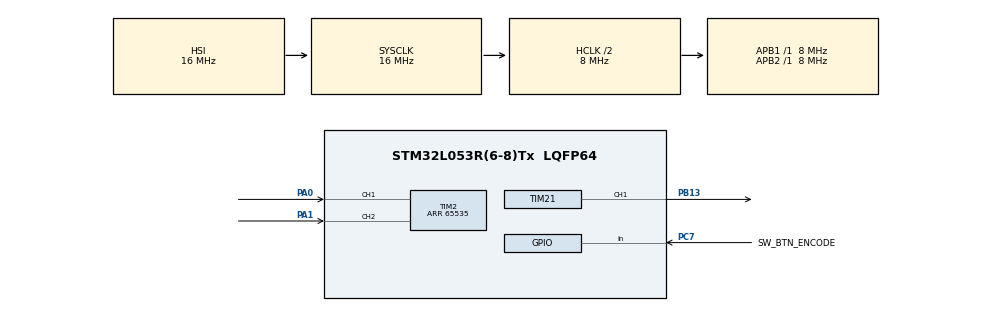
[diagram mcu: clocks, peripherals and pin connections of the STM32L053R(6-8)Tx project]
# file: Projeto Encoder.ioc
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Mcu.Family=STM32L0
Mcu.Name=STM32L053R(6-8)Tx
Mcu.Package=LQFP64
NVIC.TIM2_IRQn=true\:0\:0\:false\:false\:true\:true\:true\:true
PA0.Signal=S_TIM2_CH1
PA1.Signal=S_TIM2_CH2
PB13.Signal=S_TIM21_CH1
PC7.GPIO_Label=SW_BTN_ENCODE
PC7.GPIO_PuPd=GPIO_PULLUP
PC7.Signal=GPIO_Input
ProjectManager.HeapSize=0x200
ProjectManager.StackSize=0x400
ProjectManager.TargetToolchain=STM32CubeIDE
RCC.AHBCLKDivider=RCC_SYSCLK_DIV2
RCC.AHBFreq_Value=8000000
RCC.APB1Freq_Value=8000000
RCC.APB1TimFreq_Value=8000000
RCC.APB2Freq_Value=8000000
RCC.APB2TimFreq_Value=8000000
RCC.HCLKFreq_Value=8000000
RCC.HSE_VALUE=8000000
RCC.HSI16_VALUE=16000000
RCC.HSI48_VALUE=48000000
RCC.HSI_VALUE=16000000
RCC.LSE_VALUE=32768
RCC.MSI_VALUE=2097000
RCC.SYSCLKFreq_VALUE=16000000
RCC.SYSCLKSource=RCC_SYSCLKSOURCE_HSI
RCC.VCOOutputFreq_Value=48000000
SH.S_TIM21_CH1.0=TIM21_CH1,PWM Generation1 CH1
SH.S_TIM2_CH1.0=TIM2_CH1,Encoder_Interface
SH.S_TIM2_CH2.0=TIM2_CH2,Encoder_Interface
TIM2.AutoReloadPreload=TIM_AUTORELOAD_PRELOAD_ENABLE
TIM2.EncoderMode=TIM_ENCODERMODE_TI12
TIM2.IC1Filter=10
TIM2.IC1Polarity=TIM_ICPOLARITY_FALLING
TIM2.IC2Filter=0
TIM2.IC2Polarity=TIM_ICPOLARITY_FALLING
TIM2.Period=65535
TIM21.Channel-PWM\ Generation1\ CH1=TIM_CHANNEL_1
TIM21.Period=20000-1
TIM21.Prescaler=8-1
TIM21.Pulse-PWM\ Generation1\ CH1=500-1
VP_TIM21_VS_ClockSourceINT.Mode=Internal
board=NUCLEO-L053R8

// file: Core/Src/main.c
/* USER CODE BEGIN Header */
/**
  ******************************************************************************
  * @file           : main.c
  * @brief          : Main program body
  ******************************************************************************
  * @attention
  *
  * Copyright (c) 2025 STMicroelectronics.
  * All rights reserved.
  *
  * This software is licensed under terms that can be found in the LICENSE file
  * in the root directory of this software component.
  * If no LICENSE file comes with this software, it is provided AS-IS.
  *
  ******************************************************************************
  */
/* USER CODE END Header */
#include "main.h"

TIM_HandleTypeDef htim2;
TIM_HandleTypeDef htim21;

/* USER CODE BEGIN PV */
uint32_t rawCounter     = 0,
		 counterFiltred = 0,
		 last_counter   = 0,
		 duty_servo     = 0,
		 encoderCount   = 0,
		 dir            = 0,
		 pos            = 0;

/* USER CODE END PV */

void SystemClock_Config(void);
static void MX_GPIO_Init(void);
static void MX_TIM2_Init(void);
static void MX_TIM21_Init(void);
/* USER CODE BEGIN PFP */
void Check_rotate(void);
/* USER CODE END PFP */

int main(void)
{

  /* MCU Configuration--------------------------------------------------------*/

  /* Reset of all peripherals, Initializes the Flash interface and the Systick. */
  HAL_Init();

  /* Configure the system clock */
  SystemClock_Config();

  /* Initialize all configured peripherals */
  MX_GPIO_Init();
  MX_TIM2_Init();
  MX_TIM21_Init();
  /* USER CODE BEGIN 2 */
  HAL_TIM_Base_Start(&htim2);
  HAL_TIM_Base_Start(&htim21);

  HAL_TIM_Encoder_Start_IT(&htim2, TIM_CHANNEL_ALL);
  HAL_TIM_PWM_Start(&htim21, TIM_CHANNEL_1);

  /* USER CODE END 2 */

  /* Infinite loop */
  /* USER CODE BEGIN WHILE */
  while (1){
	  encoderCount   = __HAL_TIM_GET_COUNTER(&htim2);
	  dir            = __HAL_TIM_DIRECTION_STATUS(&htim2);
//	  pos            = __HAL_TIM_GetAutoreload(&htim2);

	  counterFiltred = (encoderCount / 2) % 181;
	  HAL_Delay(100);
    /* USER CODE END WHILE */

  }
}

void SystemClock_Config(void)
{
  RCC_OscInitTypeDef RCC_OscInitStruct = {0};
  RCC_ClkInitTypeDef RCC_ClkInitStruct = {0};

  /** Configure the main internal regulator output voltage
  */
  __HAL_PWR_VOLTAGESCALING_CONFIG(PWR_REGULATOR_VOLTAGE_SCALE1);

  /** Initializes the RCC Oscillators according to the specified parameters
  * in the RCC_OscInitTypeDef structure.
  */
  RCC_OscInitStruct.OscillatorType = RCC_OSCILLATORTYPE_HSI;
  RCC_OscInitStruct.HSIState = RCC_HSI_ON;
  RCC_OscInitStruct.HSICalibrationValue = RCC_HSICALIBRATION_DEFAULT;
  RCC_OscInitStruct.PLL.PLLState = RCC_PLL_NONE;
  if (HAL_RCC_OscConfig(&RCC_OscInitStruct) != HAL_OK)
  {
    Error_Handler();
  }

  /** Initializes the CPU, AHB and APB buses clocks
  */
  RCC_ClkInitStruct.ClockType = RCC_CLOCKTYPE_HCLK|RCC_CLOCKTYPE_SYSCLK
                              |RCC_CLOCKTYPE_PCLK1|RCC_CLOCKTYPE_PCLK2;
  RCC_ClkInitStruct.SYSCLKSource = RCC_SYSCLKSOURCE_HSI;
  RCC_ClkInitStruct.AHBCLKDivider = RCC_SYSCLK_DIV2;
  RCC_ClkInitStruct.APB1CLKDivider = RCC_HCLK_DIV1;
  RCC_ClkInitStruct.APB2CLKDivider = RCC_HCLK_DIV1;

  if (HAL_RCC_ClockConfig(&RCC_ClkInitStruct, FLASH_LATENCY_0) != HAL_OK)
  {
    Error_Handler();
  }
}

static void MX_TIM2_Init(void)
{

  TIM_Encoder_InitTypeDef sConfig = {0};
  TIM_MasterConfigTypeDef sMasterConfig = {0};

  htim2.Instance = TIM2;
  htim2.Init.Prescaler = 0;
  htim2.Init.CounterMode = TIM_COUNTERMODE_UP;
  htim2.Init.Period = 65535;
  htim2.Init.ClockDivision = TIM_CLOCKDIVISION_DIV1;
  htim2.Init.AutoReloadPreload = TIM_AUTORELOAD_PRELOAD_ENABLE;
  sConfig.EncoderMode = TIM_ENCODERMODE_TI12;
  sConfig.IC1Polarity = TIM_ICPOLARITY_FALLING;
  sConfig.IC1Selection = TIM_ICSELECTION_DIRECTTI;
  sConfig.IC1Prescaler = TIM_ICPSC_DIV1;
  sConfig.IC1Filter = 10;
  sConfig.IC2Polarity = TIM_ICPOLARITY_FALLING;
  sConfig.IC2Selection = TIM_ICSELECTION_DIRECTTI;
  sConfig.IC2Prescaler = TIM_ICPSC_DIV1;
  sConfig.IC2Filter = 0;
  if (HAL_TIM_Encoder_Init(&htim2, &sConfig) != HAL_OK)
  {
    Error_Handler();
  }
  sMasterConfig.MasterOutputTrigger = TIM_TRGO_RESET;
  sMasterConfig.MasterSlaveMode = TIM_MASTERSLAVEMODE_DISABLE;
  if (HAL_TIMEx_MasterConfigSynchronization(&htim2, &sMasterConfig) != HAL_OK)
  {
    Error_Handler();
  }

}

static void MX_TIM21_Init(void)
{

  TIM_ClockConfigTypeDef sClockSourceConfig = {0};
  TIM_MasterConfigTypeDef sMasterConfig = {0};
  TIM_OC_InitTypeDef sConfigOC = {0};

  htim21.Instance = TIM21;
  htim21.Init.Prescaler = 8-1;
  htim21.Init.CounterMode = TIM_COUNTERMODE_UP;
  htim21.Init.Period = 20000-1;
  htim21.Init.ClockDivision = TIM_CLOCKDIVISION_DIV1;
  htim21.Init.AutoReloadPreload = TIM_AUTORELOAD_PRELOAD_DISABLE;
  if (HAL_TIM_Base_Init(&htim21) != HAL_OK)
  {
    Error_Handler();
  }
  sClockSourceConfig.ClockSource = TIM_CLOCKSOURCE_INTERNAL;
  if (HAL_TIM_ConfigClockSource(&htim21, &sClockSourceConfig) != HAL_OK)
  {
    Error_Handler();
  }
  if (HAL_TIM_PWM_Init(&htim21) != HAL_OK)
  {
    Error_Handler();
  }
  sMasterConfig.MasterOutputTrigger = TIM_TRGO_RESET;
  sMasterConfig.MasterSlaveMode = TIM_MASTERSLAVEMODE_DISABLE;
  if (HAL_TIMEx_MasterConfigSynchronization(&htim21, &sMasterConfig) != HAL_OK)
  {
    Error_Handler();
  }
  sConfigOC.OCMode = TIM_OCMODE_PWM1;
  sConfigOC.Pulse = 500-1;
  sConfigOC.OCPolarity = TIM_OCPOLARITY_HIGH;
  sConfigOC.OCFastMode = TIM_OCFAST_DISABLE;
  if (HAL_TIM_PWM_ConfigChannel(&htim21, &sConfigOC, TIM_CHANNEL_1) != HAL_OK)
  {
    Error_Handler();
  }
  HAL_TIM_MspPostInit(&htim21);

}

static void MX_GPIO_Init(void)
{
  GPIO_InitTypeDef GPIO_InitStruct = {0};

  /* GPIO Ports Clock Enable */
  __HAL_RCC_GPIOA_CLK_ENABLE();
  __HAL_RCC_GPIOB_CLK_ENABLE();
  __HAL_RCC_GPIOC_CLK_ENABLE();

  /*Configure GPIO pin : SW_BTN_ENCODE_Pin */
  GPIO_InitStruct.Pin = SW_BTN_ENCODE_Pin;
  GPIO_InitStruct.Mode = GPIO_MODE_INPUT;
  GPIO_InitStruct.Pull = GPIO_PULLUP;
  HAL_GPIO_Init(SW_BTN_ENCODE_GPIO_Port, &GPIO_InitStruct);

}

/* USER CODE BEGIN 4 */
//void HAL_TIM_IC_CaptureCallback(TIM_HandleTypeDef *htim){
//  rawCounter     = __HAL_TIM_GET_COUNTER(&htim2);
//  counterFiltred = (rawCounter / 2) % 181; // Limite 0 - 180
//}
//
//void Check_rotate(void){
//	duty_servo = (((counterFiltred * 11.11) / 1) + 500);
//	HAL_Delay(20);
//	TIM21 -> CCR1 = duty_servo;
//
//	if (duty_servo >= 2500) duty_servo = 2500;
//	if (duty_servo <= 500)  duty_servo = 500;
//}

/* USER CODE END 4 */

void Error_Handler(void)
{
  __disable_irq();
  while (1)
  {
  }
}
